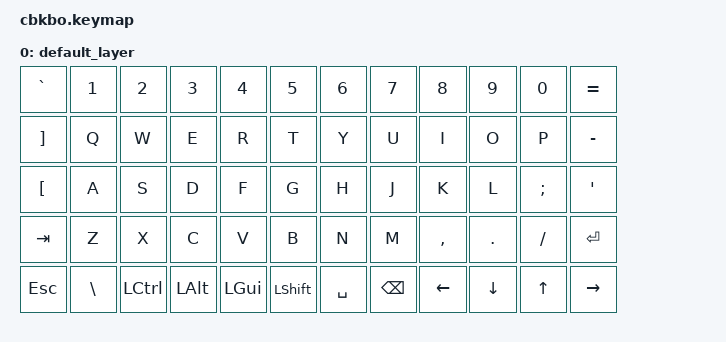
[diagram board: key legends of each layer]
#include <behaviors.dtsi>
#include <dt-bindings/zmk/keys.h>

/ {
	keymap {
		compatible = "zmk,keymap";

		default_layer {

			bindings = <
	&kp GRAVE	&kp N1	&kp N2	&kp N3	&kp N4	&kp N5		&kp N6	&kp N7	&kp N8	&kp N9	&kp N0	&kp EQUAL
	&kp RBKT		&kp Q	&kp W	&kp E	&kp R	&kp T		&kp Y	&kp U	&kp I	&kp O	&kp P	&kp MINUS
	&kp LBKT	&kp A	&kp S	&kp D	&kp F	&kp G		&kp H	&kp J	&kp K	&kp L	&kp SEMI &kp SQT
	&kp TAB	&kp Z	&kp X	&kp C	&kp V	&kp B		&kp N	&kp M	&kp COMMA &kp DOT &kp FSLH &kp RET
	&kp ESC	&kp BSLH &kp LCTRL &kp LALT &kp LGUI &kp LSHFT &kp SPACE &kp BSPC &kp LEFT &kp DOWN &kp UP &kp RIGHT
			>;
		};
	};
};
